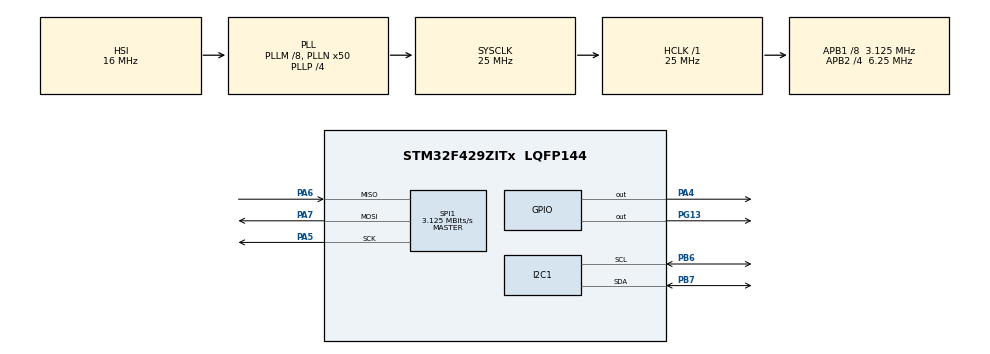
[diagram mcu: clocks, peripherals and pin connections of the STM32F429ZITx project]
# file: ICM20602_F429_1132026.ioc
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Mcu.Family=STM32F4
Mcu.Name=STM32F429ZITx
Mcu.Package=LQFP144
NVIC.PriorityGroup=NVIC_PRIORITYGROUP_0
PA13.Mode=Serial_Wire
PA13.Signal=SYS_JTMS-SWDIO
PA14.Mode=Serial_Wire
PA14.Signal=SYS_JTCK-SWCLK
PA4.GPIO_Speed=GPIO_SPEED_FREQ_HIGH
PA4.Signal=GPIO_Output
PA5.Mode=Full_Duplex_Master
PA5.Signal=SPI1_SCK
PA6.Mode=Full_Duplex_Master
PA6.Signal=SPI1_MISO
PA7.Mode=Full_Duplex_Master
PA7.Signal=SPI1_MOSI
PB3.Signal=SYS_JTDO-SWO
PB6.Mode=I2C
PB6.Signal=I2C1_SCL
PB7.Mode=I2C
PB7.Signal=I2C1_SDA
PG13.Signal=GPIO_Output
ProjectManager.HeapSize=0x200
ProjectManager.StackSize=0x400
ProjectManager.TargetToolchain=STM32CubeIDE
RCC.48MHZClocksFreq_Value=14285714.285714285
RCC.AHBFreq_Value=25000000
RCC.APB1CLKDivider=RCC_HCLK_DIV8
RCC.APB1Freq_Value=3125000
RCC.APB1TimFreq_Value=6250000
RCC.APB2CLKDivider=RCC_HCLK_DIV4
RCC.APB2Freq_Value=6250000
RCC.APB2TimFreq_Value=12500000
RCC.CortexFreq_Value=25000000
RCC.HCLKFreq_Value=25000000
RCC.HSE_VALUE=8000000
RCC.HSI_VALUE=16000000
RCC.LSE_VALUE=32768
RCC.PLLM=8
RCC.PLLN=50
RCC.PLLP=RCC_PLLP_DIV4
RCC.PLLQ=7
RCC.SYSCLKFreq_VALUE=25000000
RCC.SYSCLKSource=RCC_SYSCLKSOURCE_PLLCLK
RCC.VCOOutputFreq_Value=100000000
SPI1.BaudRatePrescaler=SPI_BAUDRATEPRESCALER_2
SPI1.CalculateBaudRate=3.125 MBits/s
SPI1.Direction=SPI_DIRECTION_2LINES
SPI1.Mode=SPI_MODE_MASTER
SPI1.VirtualType=VM_MASTER
board=STM32F429I-DISC1

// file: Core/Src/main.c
/* USER CODE BEGIN Header */
/**
  ******************************************************************************
  * @file           : main.c
  * @brief          : Main program body
  ******************************************************************************
  * @attention
  *
  * Copyright (c) 2026 STMicroelectronics.
  * All rights reserved.
  *
  * This software is licensed under terms that can be found in the LICENSE file
  * in the root directory of this software component.
  * If no LICENSE file comes with this software, it is provided AS-IS.
  *
  ******************************************************************************
  */
/* USER CODE END Header */
#include "main.h"

/* USER CODE BEGIN Includes */
#include "IMU_System.h"
#include <stdio.h>
/* USER CODE END Includes */

I2C_HandleTypeDef hi2c1;

SPI_HandleTypeDef hspi1;

/* USER CODE BEGIN PV */
IMU_Data_t droneData;
float pitch, roll, yaw, alt_rel;
uint32_t last_tick = 0;
float start_altitude = 0.0f;
/* USER CODE END PV */

void SystemClock_Config(void);
static void MX_GPIO_Init(void);
static void MX_SPI1_Init(void);
static void MX_I2C1_Init(void);

int main(void)
{

  /* MCU Configuration--------------------------------------------------------*/

  /* Reset of all peripherals, Initializes the Flash interface and the Systick. */
  HAL_Init();

  /* Configure the system clock */
  SystemClock_Config();

  /* Initialize all configured peripherals */
  MX_GPIO_Init();
  MX_SPI1_Init();
  MX_I2C1_Init();
  /* USER CODE BEGIN 2 */
  // 1. Kéo chân CS lên cao (ICM) để tránh nhiễu SPI ban đầu
    HAL_GPIO_WritePin(GPIOA, GPIO_PIN_4, GPIO_PIN_SET);
    HAL_Delay(100);

    // 2. Khởi tạo Sensors (Phiên bản "Soft-Fail" không bao giờ treo)
    IMU_Init(&hspi1, &hi2c1);

    // --- BẮT ĐẦU QUY TRÌNH HIỆU CHUẨN ---
    // 1. Calib Gyro (ĐỂ YÊN DRONE)
    // Nháy LED nhanh để báo hiệu đang đo Gyro
    for(int i=0; i<10; i++) { HAL_GPIO_TogglePin(GPIOG, GPIO_PIN_13); HAL_Delay(50); }
    IMU_Calibrate_Gyro(&hspi1);
    // Xong Gyro, LED sáng đứng 1s
    HAL_GPIO_WritePin(GPIOG, GPIO_PIN_13, GPIO_PIN_SET); HAL_Delay(1000);

    // 2. Calib Mag (QUAY DRONE MỌI HƯỚNG)
    // Nháy LED chậm để báo hiệu bắt đầu quay
    // Bạn có 15 giây để xoay drone vòng tròn 3 trục
    for(int i=0; i<5; i++) { HAL_GPIO_TogglePin(GPIOG, GPIO_PIN_13); HAL_Delay(200); }
    IMU_Calibrate_Mag(&hi2c1);

    // Xong xuôi, bắt đầu vòng lặp chính
    last_tick = HAL_GetTick();
  /* USER CODE END 2 */

  /* Infinite loop */
  while (1)
  {

    /* USER CODE BEGIN 3 */
	  // 1. Tính dt (giây)
	        uint32_t now = HAL_GetTick();
	        float dt = (now - last_tick) / 1000.0f;
	        last_tick = now;

	        // 2. Cập nhật dữ liệu từ các cảm biến ĐANG SỐNG
	        IMU_Update(&hspi1, &hi2c1, &droneData, dt);

	        // 3. Lấy dữ liệu ra biến toàn cục để tiện xem (Live Watch)
	        pitch = droneData.Pitch;
	        roll  = droneData.Roll;
	        yaw   = droneData.Yaw;
	        alt_rel = droneData.Altitude - start_altitude;

	        // Nháy đèn LED để biết code đang CHẠY (không bị treo)
	        HAL_GPIO_TogglePin(GPIOG, GPIO_PIN_13);

	        HAL_Delay(4); // Giữ loop ~200-250Hz

	      /* USER CODE END WHILE */

	      /* USER CODE BEGIN 3 */
  }
  /* USER CODE END 3 */
}

void SystemClock_Config(void)
{
  RCC_OscInitTypeDef RCC_OscInitStruct = {0};
  RCC_ClkInitTypeDef RCC_ClkInitStruct = {0};

  /** Configure the main internal regulator output voltage
  */
  __HAL_RCC_PWR_CLK_ENABLE();
  __HAL_PWR_VOLTAGESCALING_CONFIG(PWR_REGULATOR_VOLTAGE_SCALE3);

  /** Initializes the RCC Oscillators according to the specified parameters
  * in the RCC_OscInitTypeDef structure.
  */
  RCC_OscInitStruct.OscillatorType = RCC_OSCILLATORTYPE_HSI;
  RCC_OscInitStruct.HSIState = RCC_HSI_ON;
  RCC_OscInitStruct.HSICalibrationValue = RCC_HSICALIBRATION_DEFAULT;
  RCC_OscInitStruct.PLL.PLLState = RCC_PLL_ON;
  RCC_OscInitStruct.PLL.PLLSource = RCC_PLLSOURCE_HSI;
  RCC_OscInitStruct.PLL.PLLM = 8;
  RCC_OscInitStruct.PLL.PLLN = 50;
  RCC_OscInitStruct.PLL.PLLP = RCC_PLLP_DIV4;
  RCC_OscInitStruct.PLL.PLLQ = 7;
  if (HAL_RCC_OscConfig(&RCC_OscInitStruct) != HAL_OK)
  {
    Error_Handler();
  }

  /** Initializes the CPU, AHB and APB buses clocks
  */
  RCC_ClkInitStruct.ClockType = RCC_CLOCKTYPE_HCLK|RCC_CLOCKTYPE_SYSCLK
                              |RCC_CLOCKTYPE_PCLK1|RCC_CLOCKTYPE_PCLK2;
  RCC_ClkInitStruct.SYSCLKSource = RCC_SYSCLKSOURCE_PLLCLK;
  RCC_ClkInitStruct.AHBCLKDivider = RCC_SYSCLK_DIV1;
  RCC_ClkInitStruct.APB1CLKDivider = RCC_HCLK_DIV8;
  RCC_ClkInitStruct.APB2CLKDivider = RCC_HCLK_DIV4;

  if (HAL_RCC_ClockConfig(&RCC_ClkInitStruct, FLASH_LATENCY_0) != HAL_OK)
  {
    Error_Handler();
  }
}

static void MX_I2C1_Init(void)
{

  hi2c1.Instance = I2C1;
  hi2c1.Init.ClockSpeed = 100000;
  hi2c1.Init.DutyCycle = I2C_DUTYCYCLE_2;
  hi2c1.Init.OwnAddress1 = 0;
  hi2c1.Init.AddressingMode = I2C_ADDRESSINGMODE_7BIT;
  hi2c1.Init.DualAddressMode = I2C_DUALADDRESS_DISABLE;
  hi2c1.Init.OwnAddress2 = 0;
  hi2c1.Init.GeneralCallMode = I2C_GENERALCALL_DISABLE;
  hi2c1.Init.NoStretchMode = I2C_NOSTRETCH_DISABLE;
  if (HAL_I2C_Init(&hi2c1) != HAL_OK)
  {
    Error_Handler();
  }

  /** Configure Analogue filter
  */
  if (HAL_I2CEx_ConfigAnalogFilter(&hi2c1, I2C_ANALOGFILTER_ENABLE) != HAL_OK)
  {
    Error_Handler();
  }

  /** Configure Digital filter
  */
  if (HAL_I2CEx_ConfigDigitalFilter(&hi2c1, 0) != HAL_OK)
  {
    Error_Handler();
  }

}

static void MX_SPI1_Init(void)
{

  /* SPI1 parameter configuration*/
  hspi1.Instance = SPI1;
  hspi1.Init.Mode = SPI_MODE_MASTER;
  hspi1.Init.Direction = SPI_DIRECTION_2LINES;
  hspi1.Init.DataSize = SPI_DATASIZE_8BIT;
  hspi1.Init.CLKPolarity = SPI_POLARITY_LOW;
  hspi1.Init.CLKPhase = SPI_PHASE_1EDGE;
  hspi1.Init.NSS = SPI_NSS_SOFT;
  hspi1.Init.BaudRatePrescaler = SPI_BAUDRATEPRESCALER_2;
  hspi1.Init.FirstBit = SPI_FIRSTBIT_MSB;
  hspi1.Init.TIMode = SPI_TIMODE_DISABLE;
  hspi1.Init.CRCCalculation = SPI_CRCCALCULATION_DISABLE;
  hspi1.Init.CRCPolynomial = 10;
  if (HAL_SPI_Init(&hspi1) != HAL_OK)
  {
    Error_Handler();
  }

}

static void MX_GPIO_Init(void)
{
  GPIO_InitTypeDef GPIO_InitStruct = {0};

  /* GPIO Ports Clock Enable */
  __HAL_RCC_GPIOA_CLK_ENABLE();
  __HAL_RCC_GPIOG_CLK_ENABLE();
  __HAL_RCC_GPIOB_CLK_ENABLE();

  /*Configure GPIO pin Output Level */
  HAL_GPIO_WritePin(GPIOA, GPIO_PIN_4, GPIO_PIN_RESET);

  /*Configure GPIO pin Output Level */
  HAL_GPIO_WritePin(GPIOG, GPIO_PIN_13, GPIO_PIN_RESET);

  /*Configure GPIO pin : PA4 */
  GPIO_InitStruct.Pin = GPIO_PIN_4;
  GPIO_InitStruct.Mode = GPIO_MODE_OUTPUT_PP;
  GPIO_InitStruct.Pull = GPIO_NOPULL;
  GPIO_InitStruct.Speed = GPIO_SPEED_FREQ_HIGH;
  HAL_GPIO_Init(GPIOA, &GPIO_InitStruct);

  /*Configure GPIO pin : PG13 */
  GPIO_InitStruct.Pin = GPIO_PIN_13;
  GPIO_InitStruct.Mode = GPIO_MODE_OUTPUT_PP;
  GPIO_InitStruct.Pull = GPIO_NOPULL;
  GPIO_InitStruct.Speed = GPIO_SPEED_FREQ_LOW;
  HAL_GPIO_Init(GPIOG, &GPIO_InitStruct);

}

void Error_Handler(void)
{
  __disable_irq();
  while (1)
  {
  }
}
